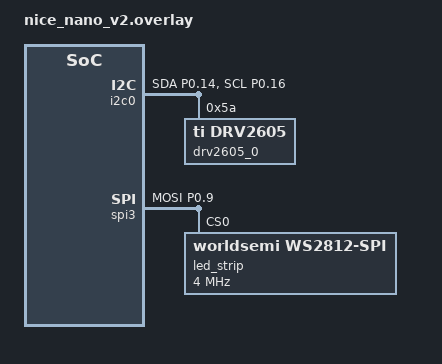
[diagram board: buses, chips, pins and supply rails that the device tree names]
#include <dt-bindings/led/led.h>

&pinctrl {
    spi3_default: spi3_default {
        group1 {
            psels = <NRF_PSEL(SPIM_MOSI, 0, 9)>;
        };
    };

    spi3_sleep: spi3_sleep {
        group1 {
            psels = <NRF_PSEL(SPIM_MOSI, 0, 9)>;
            low-power-enable;
        };
    };

    i2c0_default: i2c0_default {
        group1 {
            psels = <NRF_PSEL(TWIM_SDA, 0, 14)>,
                    <NRF_PSEL(TWIM_SCL, 0, 16)>;
        };
    };

    i2c0_sleep: i2c0_sleep {
        group1 {
            psels = <NRF_PSEL(TWIM_SDA, 0, 14)>,
                    <NRF_PSEL(TWIM_SCL, 0, 16)>;
            low-power-enable;
        };
    };
};

&i2c0 {
    status = "okay";
    compatible = "nordic,nrf-twim";
    pinctrl-0 = <&i2c0_default>;
    pinctrl-1 = <&i2c0_sleep>;
    pinctrl-names = "default", "sleep";

    drv2605_0: drv2605@5a {
        compatible = "ti,drv2605";
        reg = <0x5a>;

        /* Library to use, 0 = Empty, 1-5 are ERM, 6 is LRA. */
        library = <6>;

        /* switch to standby mode after idling for 1000ms */
        standby-ms = <1000>;
    };
};

&spi3 {
    compatible = "nordic,nrf-spim";
    status = "okay";

    pinctrl-0 = <&spi3_default>;
    pinctrl-1 = <&spi3_sleep>;
    pinctrl-names = "default", "sleep";

    led_strip: ws2812@0 {
        compatible = "worldsemi,ws2812-spi";

        /* SPI */
        reg = <0>; /* ignored, but necessary for SPI bindings */
        spi-max-frequency = <4000000>;

        /* WS2812 */
        chain-length = <10>; /* arbitrary; change at will */
        spi-one-frame = <0x70>;
        spi-zero-frame = <0x40>;

        color-mapping = <LED_COLOR_ID_GREEN LED_COLOR_ID_RED LED_COLOR_ID_BLUE>;
    };
};

/ {
    chosen {
        zmk,underglow = &led_strip;
    };
};
